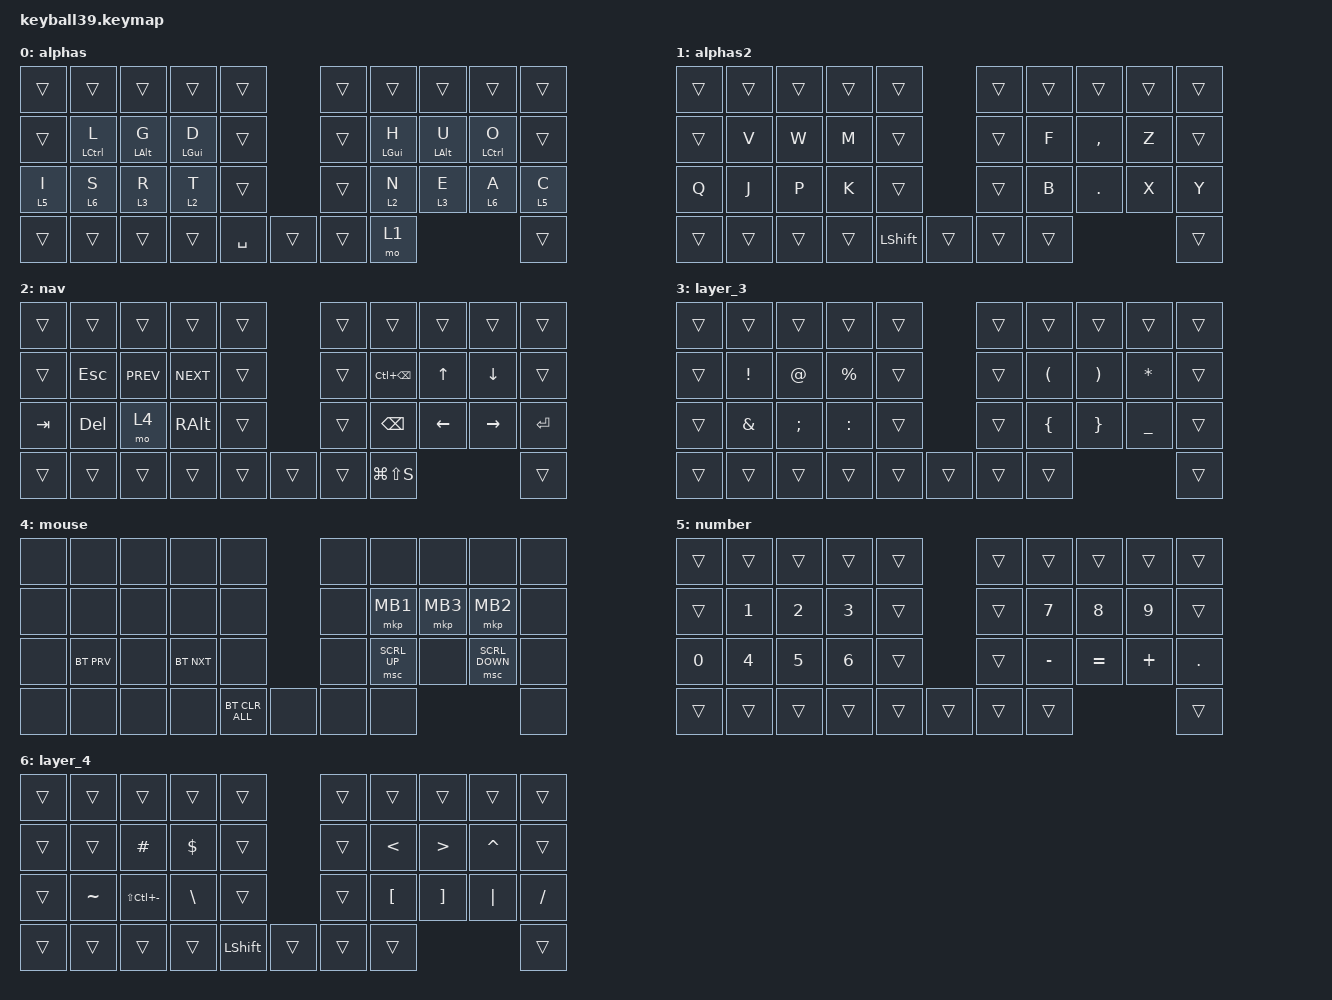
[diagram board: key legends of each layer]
#define DEFAULT 0
#define NUM     1
#define SYM     2
#define FUN     3
#define MOUSE   4
#define SCROLL  5
#define SNIPE   6

#include <behaviors/mouse_keys.dtsi>
#include <dt-bindings/zmk/mouse.h>
#include <behaviors.dtsi>
#include <dt-bindings/zmk/bt.h>
#include <dt-bindings/zmk/keys.h>
#include <dt-bindings/zmk/pointing.h>

&lt {
    tapping-term-ms = <240>;
    flavor = "balanced";
    quick-tap-ms = <150>;
};

&mt {
    tapping-term-ms = <200>;
    flavor = "tap-preferred";
    quick-tap-ms = <150>;
};

&caps_word { continue-list = <UNDERSCORE MINUS>; };

/ {
    // custom shift using mod-morph 

    behaviors {
        cmqus: comma_question {
            compatible = "zmk,behavior-mod-morph";
            label = "COMMA_QUESTION";
            #binding-cells = <0>;
            bindings = <&kp COMMA>, <&kp QUESTION>;

            mods = <(MOD_LSFT|MOD_RSFT)>;
        };

        dtsmi: dot_semi {
            compatible = "zmk,behavior-mod-morph";
            label = "DOT_SEMI";
            #binding-cells = <0>;
            bindings = <&kp DOT>, <&kp SEMI>;

            mods = <(MOD_LSFT|MOD_RSFT)>;
        };
    };

    combos {
        compatible = "zmk,combos";

        seven {
            bindings = <&kp N7>;
            key-positions = <11 12>;
            layers = <5>;
        };

        eight {
            bindings = <&kp N8>;
            key-positions = <12 13>;
            layers = <5>;
        };

        nine {
            bindings = <&kp N9>;
            key-positions = <11 13>;
            layers = <5>;
        };

        cpp {
            bindings = <&kp C_PLAY_PAUSE>;
            key-positions = <12 13>;
            layers = <2>;
        };

        swe1 {
            bindings = <&kp LEFT_BRACKET>;
            key-positions = <17 18>;
            layers = <0>;
        };

        swe2 {
            bindings = <&kp SEMICOLON>;
            key-positions = <27 26>;
            layers = <0>;
        };

        swe3 {
            bindings = <&kp APOSTROPHE>;
            key-positions = <27 28>;
            layers = <0>;
        };

        f13 {
            bindings = <&kp F13>;
            key-positions = <11 13>;
            layers = <0>;
        };

        back {
            bindings = <&mkp MB4>;
            key-positions = <16 17>;
            layers = <4>;
        };

        front {
            bindings = <&mkp MB5>;
            key-positions = <17 18>;
            layers = <4>;
        };

        cop {
            bindings = <&kp LC(C)>;
            key-positions = <11 12>;
        };

        paste {
            bindings = <&kp LC(V)>;
            key-positions = <21 22>;
        };
    };

    keymap {
        compatible = "zmk,keymap";

        alphas {
            bindings = <
&trans   &trans       &trans          &trans          &trans                     &trans  &trans      &trans          &trans       &trans
&trans   &mt LCTRL L  &mt LEFT_ALT G  &mt LEFT_GUI D  &trans                     &trans  &mt LGUI H  &mt LEFT_ALT U  &mt LCTRL O  &trans
&lt 5 I  &lt 6 S      &lt 3 R         &lt 2 T         &trans                     &trans  &lt 2 N     &lt 3 E         &lt 6 A      &lt 5 C
&trans   &trans       &trans          &trans          &kp SPACE  &trans  &trans  &mo 1                                            &trans
            >;
        };

        alphas2 {
            bindings = <
&trans  &trans  &trans  &trans  &trans                          &trans  &trans  &trans      &trans  &trans
&trans  &kp V   &kp W   &kp M   &trans                          &trans  &kp F   &kp COMMA   &kp Z   &trans
&kp Q   &kp J   &kp P   &kp K   &trans                          &trans  &kp B   &kp PERIOD  &kp X   &kp Y
&trans  &trans  &trans  &trans  &kp LEFT_SHIFT  &trans  &trans  &trans                              &trans
            >;
        };

        nav {
            bindings = <
&trans   &trans      &trans      &trans         &trans                  &trans         &trans             &trans    &trans     &trans
&trans   &kp ESCAPE  &kp C_PREV  &kp C_NEXT     &trans                  &trans         &kp LC(BACKSPACE)  &kp UP    &kp DOWN   &trans
&kp TAB  &kp DEL     &mo 4       &kp RIGHT_ALT  &trans                  &trans         &kp BACKSPACE      &kp LEFT  &kp RIGHT  &kp ENTER
&trans   &trans      &trans      &trans         &trans  &trans  &trans  &kp LG(LS(S))                                          &trans
            >;
        };

        layer_3 {
            bindings = <
&trans  &trans           &trans         &trans       &trans                  &trans  &trans                &trans                 &trans     &trans
&trans  &kp EXCLAMATION  &kp AT_SIGN    &kp PERCENT  &trans                  &trans  &kp LEFT_PARENTHESIS  &kp RIGHT_PARENTHESIS  &kp STAR   &trans
&trans  &kp AMPERSAND    &kp SEMICOLON  &kp COLON    &trans                  &trans  &kp LEFT_BRACE        &kp RIGHT_BRACE        &kp UNDER  &trans
&trans  &trans           &trans         &trans       &trans  &trans  &trans  &trans                                                          &trans
            >;
        };

        mouse {
            bindings = <
&none  &none       &none  &none       &none                         &none  &none         &none     &none           &none
&none  &none       &none  &none       &none                         &none  &mkp MB1      &mkp MB3  &mkp MB2        &none
&none  &bt BT_PRV  &none  &bt BT_NXT  &none                         &none  &msc SCRL_UP  &none     &msc SCRL_DOWN  &none
&none  &none       &none  &none       &bt BT_CLR_ALL  &none  &none  &none                                          &none
            >;
        };

        number {
            bindings = <
&trans  &trans        &trans        &trans        &trans                  &trans  &trans     &trans     &trans    &trans
&trans  &kp NUMBER_1  &kp NUMBER_2  &kp NUMBER_3  &trans                  &trans  &kp N7     &kp N8     &kp N9    &trans
&kp N0  &kp NUMBER_4  &kp N5        &kp NUMBER_6  &trans                  &trans  &kp MINUS  &kp EQUAL  &kp PLUS  &kp DOT
&trans  &trans        &trans        &trans        &trans  &trans  &trans  &trans                                  &trans
            >;
        };

        layer_4 {
            bindings = <
&trans  &trans     &trans             &trans         &trans                          &trans  &trans            &trans             &trans     &trans
&trans  &trans     &kp HASH           &kp DOLLAR     &trans                          &trans  &kp LESS_THAN     &kp GREATER_THAN   &kp CARET  &trans
&trans  &kp TILDE  &kp LS(LC(MINUS))  &kp BACKSLASH  &trans                          &trans  &kp LEFT_BRACKET  &kp RIGHT_BRACKET  &kp PIPE   &kp SLASH
&trans  &trans     &trans             &trans         &kp LEFT_SHIFT  &trans  &trans  &trans                                                  &trans
            >;
        };
    };
};
